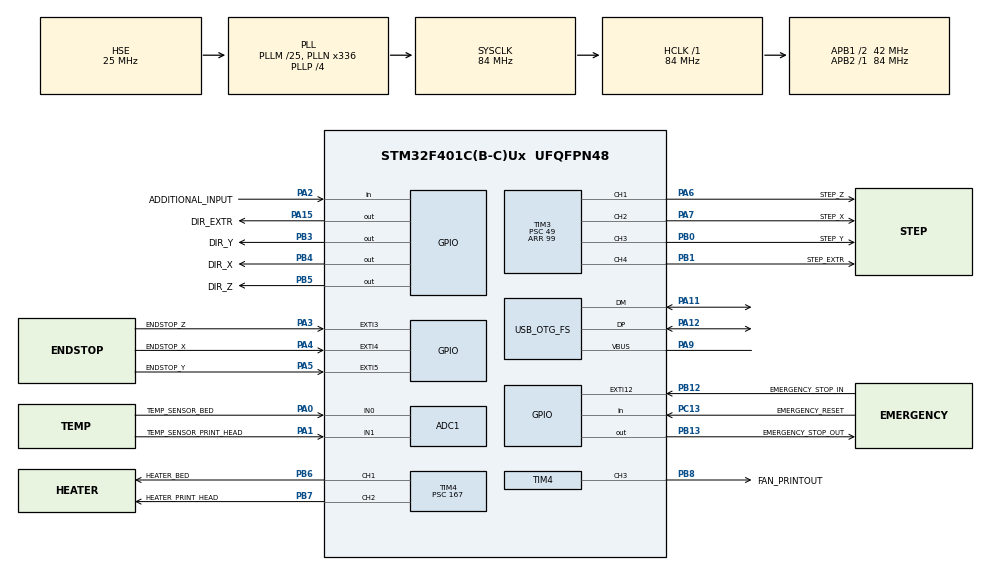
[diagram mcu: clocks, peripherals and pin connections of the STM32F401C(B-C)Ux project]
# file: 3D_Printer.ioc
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ADC1.Channel-0\#ChannelRegularConversion=ADC_CHANNEL_0
ADC1.Channel-1\#ChannelRegularConversion=ADC_CHANNEL_1
ADC1.NbrOfConversion=2
ADC1.NbrOfConversionFlag=1
ADC1.Rank-0\#ChannelRegularConversion=1
ADC1.Rank-1\#ChannelRegularConversion=2
ADC1.SamplingTime-0\#ChannelRegularConversion=ADC_SAMPLETIME_3CYCLES
ADC1.SamplingTime-1\#ChannelRegularConversion=ADC_SAMPLETIME_3CYCLES
ADC1.ScanConvMode=ENABLE
ADC1.master=1
Dma.ADC1.0.Direction=DMA_PERIPH_TO_MEMORY
Dma.ADC1.0.FIFOMode=DMA_FIFOMODE_DISABLE
Dma.ADC1.0.Instance=DMA2_Stream0
Dma.ADC1.0.MemDataAlignment=DMA_MDATAALIGN_WORD
Dma.ADC1.0.MemInc=DMA_MINC_ENABLE
Dma.ADC1.0.Mode=DMA_CIRCULAR
Dma.ADC1.0.PeriphDataAlignment=DMA_PDATAALIGN_WORD
Dma.ADC1.0.PeriphInc=DMA_PINC_DISABLE
Dma.ADC1.0.Priority=DMA_PRIORITY_LOW
Dma.Request0=ADC1
Mcu.Family=STM32F4
Mcu.Name=STM32F401C(B-C)Ux
Mcu.Package=UFQFPN48
NVIC.DMA2_Stream0_IRQn=true\:0\:0\:false\:false\:true\:false\:true\:true
NVIC.EXTI15_10_IRQn=true\:0\:0\:false\:false\:true\:true\:true\:true
NVIC.EXTI3_IRQn=true\:0\:0\:false\:false\:true\:true\:true\:true
NVIC.EXTI4_IRQn=true\:0\:0\:false\:false\:true\:true\:true\:true
NVIC.EXTI9_5_IRQn=true\:0\:0\:false\:false\:true\:true\:true\:true
NVIC.OTG_FS_IRQn=true\:0\:0\:false\:false\:true\:true\:true\:true
NVIC.PriorityGroup=NVIC_PRIORITYGROUP_4
NVIC.TIM3_IRQn=true\:0\:0\:false\:false\:true\:true\:true\:true
PA0-WKUP.GPIO_Label=TEMP_SENSOR_BED
PA0-WKUP.Signal=ADCx_IN0
PA1.GPIO_Label=TEMP_SENSOR_PRINT_HEAD
PA1.Signal=ADCx_IN1
PA11.Mode=Device_Only
PA11.Signal=USB_OTG_FS_DM
PA12.Mode=Device_Only
PA12.Signal=USB_OTG_FS_DP
PA13.Mode=Serial_Wire
PA13.Signal=SYS_JTMS-SWDIO
PA14.Mode=Serial_Wire
PA14.Signal=SYS_JTCK-SWCLK
PA15.GPIO_Label=DIR_EXTR
PA15.Signal=GPIO_Output
PA2.GPIO_Label=ADDITIONAL_INPUT
PA2.Signal=GPIO_Input
PA3.GPIO_Label=ENDSTOP_Z
PA3.Signal=GPXTI3
PA4.GPIO_Label=ENDSTOP_X
PA4.Signal=GPXTI4
PA5.GPIO_Label=ENDSTOP_Y
PA5.Signal=GPXTI5
PA6.GPIO_Label=STEP_Z
PA6.Signal=S_TIM3_CH1
PA7.GPIO_Label=STEP_X
PA7.Signal=S_TIM3_CH2
PA9.Mode=Activate_VBUS
PA9.Signal=USB_OTG_FS_VBUS
PB0.GPIO_Label=STEP_Y
PB0.Signal=S_TIM3_CH3
PB1.GPIO_Label=STEP_EXTR
PB1.Signal=S_TIM3_CH4
PB12.GPIO_Label=EMERGENCY_STOP_IN
PB12.GPIO_ModeDefaultEXTI=GPIO_MODE_IT_FALLING
PB12.Signal=GPXTI12
PB13.GPIO_Label=EMERGENCY_STOP_OUT
PB13.Signal=GPIO_Output
PB3.GPIO_Label=DIR_Y
PB3.Signal=GPIO_Output
PB4.GPIO_Label=DIR_X
PB4.Signal=GPIO_Output
PB5.GPIO_Label=DIR_Z
PB5.Signal=GPIO_Output
PB6.GPIO_Label=HEATER_BED
PB6.Signal=S_TIM4_CH1
PB7.GPIO_Label=HEATER_PRINT_HEAD
PB7.Signal=S_TIM4_CH2
PB8.GPIO_Label=FAN_PRINTOUT
PB8.Signal=S_TIM4_CH3
PC13-ANTI_TAMP.GPIO_Label=EMERGENCY_RESET
PC13-ANTI_TAMP.Signal=GPIO_Input
PH0\ -\ OSC_IN.Mode=HSE-External-Oscillator
PH0\ -\ OSC_IN.Signal=RCC_OSC_IN
PH1\ -\ OSC_OUT.Mode=HSE-External-Oscillator
PH1\ -\ OSC_OUT.Signal=RCC_OSC_OUT
ProjectManager.HeapSize=0x200
ProjectManager.StackSize=0x400
ProjectManager.TargetToolchain=CMake
RCC.48MHZClocksFreq_Value=48000000
RCC.AHBFreq_Value=84000000
RCC.APB1CLKDivider=RCC_HCLK_DIV2
RCC.APB1Freq_Value=42000000
RCC.APB1TimFreq_Value=84000000
RCC.APB2Freq_Value=84000000
RCC.APB2TimFreq_Value=84000000
RCC.CortexFreq_Value=84000000
RCC.HCLKFreq_Value=84000000
RCC.HSE_VALUE=25000000
RCC.HSI_VALUE=16000000
RCC.LSE_VALUE=32768
RCC.PLLM=25
RCC.PLLN=336
RCC.PLLP=RCC_PLLP_DIV4
RCC.PLLQ=7
RCC.SYSCLKFreq_VALUE=84000000
RCC.SYSCLKSource=RCC_SYSCLKSOURCE_PLLCLK
RCC.VCOOutputFreq_Value=336000000
SH.ADCx_IN0.0=ADC1_IN0,IN0
SH.ADCx_IN1.0=ADC1_IN1,IN1
SH.S_TIM3_CH1.0=TIM3_CH1,PWM Generation1 CH1
SH.S_TIM3_CH2.0=TIM3_CH2,PWM Generation2 CH2
SH.S_TIM3_CH3.0=TIM3_CH3,PWM Generation3 CH3
SH.S_TIM3_CH4.0=TIM3_CH4,PWM Generation4 CH4
SH.S_TIM4_CH1.0=TIM4_CH1,PWM Generation1 CH1
SH.S_TIM4_CH2.0=TIM4_CH2,PWM Generation2 CH2
SH.S_TIM4_CH3.0=TIM4_CH3,PWM Generation3 CH3
TIM3.Channel-PWM\ Generation1\ CH1=TIM_CHANNEL_1
TIM3.Channel-PWM\ Generation2\ CH2=TIM_CHANNEL_2
TIM3.Channel-PWM\ Generation3\ CH3=TIM_CHANNEL_3
TIM3.Channel-PWM\ Generation4\ CH4=TIM_CHANNEL_4
TIM3.Period=99
TIM3.Prescaler=49
TIM4.AutoReloadPreload=TIM_AUTORELOAD_PRELOAD_DISABLE
TIM4.Channel-PWM\ Generation1\ CH1=TIM_CHANNEL_1
TIM4.Channel-PWM\ Generation2\ CH2=TIM_CHANNEL_2
TIM4.Channel-PWM\ Generation3\ CH3=TIM_CHANNEL_3
TIM4.Period=999
TIM4.Prescaler=167
USB_DEVICE.CLASS_NAME_FS=CDC
USB_DEVICE.VirtualMode=Cdc
USB_DEVICE.VirtualModeFS=Cdc_FS
USB_OTG_FS.VirtualMode=Device_Only
VP_USB_DEVICE_VS_USB_DEVICE_CDC_FS.Mode=CDC_FS
board=custom

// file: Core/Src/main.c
/* USER CODE BEGIN Header */
/**
  ******************************************************************************
  * @file           : main.c
  * @brief          : Main program body
  ******************************************************************************
  */
/* USER CODE END Header */
#include "main.h"
#include "usb_device.h"

/* USER CODE BEGIN Includes */

#include "debug.h"
#include "stepper_motor.h"
#include "emergency_stop.h"
#include "system_check.h"
#include "axis.h"
#include "protocol_praser.h"
/* USER CODE END Includes */

ADC_HandleTypeDef hadc1;
DMA_HandleTypeDef hdma_adc1;

TIM_HandleTypeDef htim3;
TIM_HandleTypeDef htim4;

/* USER CODE BEGIN PV */

volatile uint32_t last_press_time_endstop_x = 0;
volatile uint32_t last_press_time_endstop_y = 0;
volatile uint32_t last_press_time_endstop_z = 0;
volatile SystemState_t currentState = STATE_INIT;

static uint8_t adc_dma_error_reported = 0U;

static uint8_t header_circ_buf_mem[HEADER_BUFFER_SIZE];
static uint8_t usb_circ_buf_mem[USB_BUFFER_SIZE];

uint32_t ADC_BUFFER[2];
uint32_t ADC_SUM[2];
uint8_t ADC_reading_counter;
PID_Controller pid_controller_bed;
PID_Controller pid_controller_print_head;

circ_buf_t header_circ_buf;
circ_buf_t usb_circ_buf;

/* USER CODE END PV */

void SystemClock_Config(void);
static void MX_GPIO_Init(void);
static void MX_DMA_Init(void);
static void MX_TIM3_Init(void);
static void MX_TIM4_Init(void);
static void MX_ADC1_Init(void);

/* USER CODE BEGIN 0 */

void HAL_TIM_PWM_PulseFinishedCallback(TIM_HandleTypeDef *htim)
{
    if (htim->Instance == TIM3)
    {
    	uint8_t ch = htim->Channel - 1;

    	if (ch < AXIS_COUNT)
    	{
    		process_axis(channel_axis_map[ch]);
    	 }
    }
}

void HAL_ADC_ConvCpltCallback(ADC_HandleTypeDef* hadc)
{
	if(ADC_reading_counter < 16){
		ADC_SUM[0]+=ADC_BUFFER[0];
		ADC_SUM[1]+=ADC_BUFFER[1];
		ADC_reading_counter++;
	}
	else{
		ADC_reading_counter=0;
		PID_to_PWM(PID_Compute(&pid_controller_bed, (float)(ADC_SUM[0]>>16), 0.032), &htim4, TIM_CHANNEL_1);
		PID_to_PWM(PID_Compute(&pid_controller_print_head, (float)(ADC_SUM[0]>>16), 0.032), &htim4, TIM_CHANNEL_2);

	}

}

#define DEBOUNCE_MS 20U

static uint8_t EXTI_debouncing(volatile uint32_t *last_press_time, uint32_t line_mask)
{
    uint32_t now;

    EXTI->PR = line_mask;

    now = HAL_GetTick();

    if ((now - *last_press_time) > DEBOUNCE_MS) {
        *last_press_time = now;
        return 1U;
    }

    return 0U;
}

void HAL_GPIO_EXTI_Callback(uint16_t GPIO_Pin)
{
    if (GPIO_Pin == ENDSTOP_X_Pin) {
        (void)EXTI_debouncing(&last_press_time_endstop_x, (1U << 4U));
        stop_homing(axis_map[0].motor);
    } else if (GPIO_Pin == ENDSTOP_Y_Pin) {
        (void)EXTI_debouncing(&last_press_time_endstop_y, (1U << 3U));
    } else if (GPIO_Pin == ENDSTOP_Z_Pin) {
        (void)EXTI_debouncing(&last_press_time_endstop_z, (1U << 4U));
    }
    else if (GPIO_Pin == EMERGENCY_STOP_IN_Pin) {
        Emergency_Stop_Activate();
        currentState = STATE_STOP;
        HAL_GPIO_WritePin(EMERGENCY_STOP_OUT_GPIO_Port, EMERGENCY_STOP_OUT_Pin, GPIO_PIN_RESET);
    }
}

static void start_stepper_pwm_channels(void)
{
    if (HAL_TIM_PWM_Start_IT(&htim3, TIM_CHANNEL_1) != HAL_OK) {
        debug_error("TIM3 CH1 PWM start failed\r\n");
        Error_Handler();
    }
    if (HAL_TIM_PWM_Start_IT(&htim3, TIM_CHANNEL_2) != HAL_OK) {
        debug_error("TIM3 CH2 PWM start failed\r\n");
        Error_Handler();
    }
    if (HAL_TIM_PWM_Start_IT(&htim3, TIM_CHANNEL_3) != HAL_OK) {
        debug_error("TIM3 CH3 PWM start failed\r\n");
        Error_Handler();
    }
    if (HAL_TIM_PWM_Start_IT(&htim3, TIM_CHANNEL_4) != HAL_OK) {
        debug_error("TIM3 CH4 PWM start failed\r\n");
        Error_Handler();
    }
}

static void start_heater_pwm_channels(void)
{
    if (HAL_TIM_PWM_Start_IT(&htim4, TIM_CHANNEL_1) != HAL_OK) {
        debug_error("TIM4 CH1 PWM start failed\r\n");
        Error_Handler();
    }
    if (HAL_TIM_PWM_Start_IT(&htim4, TIM_CHANNEL_2) != HAL_OK) {
        debug_error("TIM4 CH2 PWM start failed\r\n");
        Error_Handler();
    }
}

static void start_stepper_base_timer(void)
{
    if (HAL_TIM_Base_Start_IT(&htim3) != HAL_OK) {
        debug_error("TIM3 base timer start failed\r\n");
        Error_Handler();
    }
}

/* USER CODE END 0 */

int main(void)
{

  /* MCU Configuration--------------------------------------------------------*/

  /* Reset of all peripherals, Initializes the Flash interface and the Systick. */
  if (HAL_Init() != HAL_OK)
  {
    Error_Handler();
  }

  debug_init();

  /* USER CODE BEGIN Init */

  // ===== Initialize stepper motors adn buffers =====

  axis_init(&htim3);
  circ_buf_init(&header_circ_buf, header_circ_buf_mem, AXIS_BUFFER_SIZE, 1);
  circ_buf_init(&usb_circ_buf, usb_circ_buf_mem, AXIS_BUFFER_SIZE, 1);

  /* Initialize parsers */
  parse_init(&header_circ_buf, &usb_circ_buf);
  usb_praser_init(header_circ_buf, usb_circ_buf);

  // ===== Start PWM with interrupt =====
  start_stepper_pwm_channels();

  // ===== Start PWM without interrupt =====
  start_heater_pwm_channels();

  // ===== Start base timer interrupt =====
  start_stepper_base_timer();

  // Default directions HIGH
  HAL_GPIO_WritePin(motor_X.dir_port, motor_X.dir_pin, GPIO_PIN_SET);
  HAL_GPIO_WritePin(motor_Y.dir_port, motor_Y.dir_pin, GPIO_PIN_SET);
  HAL_GPIO_WritePin(motor_Z.dir_port, motor_Z.dir_pin, GPIO_PIN_SET);
  HAL_GPIO_WritePin(motor_extruder.dir_port, motor_extruder.dir_pin, GPIO_PIN_SET);

  // ====== pid controlers ======

  // TO DO
  // define pid varibles

  PID_Init(&pid_controller_print_head, 20, 0.5, 100, 0, 100);
  PID_Init(&pid_controller_bed, 20, 0.5, 100, 0, 100);

  /* USER CODE END Init */

  /* Configure the system clock */
  SystemClock_Config();

  /* Initialize all configured peripherals */
  MX_GPIO_Init();
  MX_DMA_Init();
  MX_TIM3_Init();
  MX_TIM4_Init();
  MX_USB_DEVICE_Init();
  MX_ADC1_Init();

  /* Infinite loop */
  /* USER CODE BEGIN WHILE */
  while (1)
  {
	  switch (currentState)
	  {
	  	case STATE_INIT:
	  	{
	  		if (!System_Check())
	  		{
	  			start_homing(axis_map[0].motor, 1);
	  			start_homing(axis_map[1].motor, 1);
	  			start_homing(axis_map[2].motor, 1);
	  			start_homing(axis_map[3].motor, 1);

	  			currentState = STATE_HOMING;
	  		}
	  		else
	  		{
	  			currentState = STATE_STOP;
	  		}
	  		break;
	  	}
	  	case STATE_HOMING:
		{
			if(!axis_map[0].motor->is_homing &&
					!axis_map[1].motor->is_homing &&
					!axis_map[2].motor->is_homing &&
					!axis_map[3].motor->is_homing) currentState = STATE_RUN;

	  	}
	  	break;
	  	case STATE_RUN:
	  	{
	  		HAL_GPIO_WritePin(EMERGENCY_STOP_OUT_GPIO_Port, EMERGENCY_STOP_OUT_Pin, GPIO_PIN_SET);
	  		usb_tx_process();
	  		uint8_t flag = 0;
	  		parse_frame(&flag);
	  	}
	  	break;
	  	case STATE_STOP:
	  	{
	  		if(HAL_GPIO_ReadPin(EMERGENCY_RESET_GPIO_Port,  EMERGENCY_RESET_Pin) ==  GPIO_PIN_SET){
	  			currentState = STATE_RUN;
          Emergency_Stop_Reset();
	  		}
	  	}
	  	break;
	  }

	  if (HAL_ADC_Start_DMA(&hadc1, ADC_BUFFER, 2) != HAL_OK)
	  {
	   if (adc_dma_error_reported == 0U)
	   {
	    debug_error("ADC DMA start failed\r\n");
	    adc_dma_error_reported = 1U;
	   }
	  }
	  else
	  {
	   adc_dma_error_reported = 0U;
	  }

	  HAL_Delay(5);
    /* USER CODE END WHILE */

  }
}

void SystemClock_Config(void)
{
  RCC_OscInitTypeDef RCC_OscInitStruct = {0};
  RCC_ClkInitTypeDef RCC_ClkInitStruct = {0};

  /** Configure the main internal regulator output voltage
  */
  __HAL_RCC_PWR_CLK_ENABLE();
  __HAL_PWR_VOLTAGESCALING_CONFIG(PWR_REGULATOR_VOLTAGE_SCALE2);

  /** Initializes the RCC Oscillators according to the specified parameters
  * in the RCC_OscInitTypeDef structure.
  */
  RCC_OscInitStruct.OscillatorType = RCC_OSCILLATORTYPE_HSE;
  RCC_OscInitStruct.HSEState = RCC_HSE_ON;
  RCC_OscInitStruct.PLL.PLLState = RCC_PLL_ON;
  RCC_OscInitStruct.PLL.PLLSource = RCC_PLLSOURCE_HSE;
  RCC_OscInitStruct.PLL.PLLM = 25;
  RCC_OscInitStruct.PLL.PLLN = 336;
  RCC_OscInitStruct.PLL.PLLP = RCC_PLLP_DIV4;
  RCC_OscInitStruct.PLL.PLLQ = 7;
  if (HAL_RCC_OscConfig(&RCC_OscInitStruct) != HAL_OK)
  {
    Error_Handler();
  }

  /** Initializes the CPU, AHB and APB buses clocks
  */
  RCC_ClkInitStruct.ClockType = RCC_CLOCKTYPE_HCLK|RCC_CLOCKTYPE_SYSCLK
                              |RCC_CLOCKTYPE_PCLK1|RCC_CLOCKTYPE_PCLK2;
  RCC_ClkInitStruct.SYSCLKSource = RCC_SYSCLKSOURCE_PLLCLK;
  RCC_ClkInitStruct.AHBCLKDivider = RCC_SYSCLK_DIV1;
  RCC_ClkInitStruct.APB1CLKDivider = RCC_HCLK_DIV2;
  RCC_ClkInitStruct.APB2CLKDivider = RCC_HCLK_DIV1;

  if (HAL_RCC_ClockConfig(&RCC_ClkInitStruct, FLASH_LATENCY_2) != HAL_OK)
  {
    Error_Handler();
  }
}

static void MX_ADC1_Init(void)
{

  ADC_ChannelConfTypeDef sConfig = {0};

  /** Configure the global features of the ADC (Clock, Resolution, Data Alignment and number of conversion)
  */
  hadc1.Instance = ADC1;
  hadc1.Init.ClockPrescaler = ADC_CLOCK_SYNC_PCLK_DIV4;
  hadc1.Init.Resolution = ADC_RESOLUTION_12B;
  hadc1.Init.ScanConvMode = ENABLE;
  hadc1.Init.ContinuousConvMode = DISABLE;
  hadc1.Init.DiscontinuousConvMode = DISABLE;
  hadc1.Init.ExternalTrigConvEdge = ADC_EXTERNALTRIGCONVEDGE_NONE;
  hadc1.Init.ExternalTrigConv = ADC_SOFTWARE_START;
  hadc1.Init.DataAlign = ADC_DATAALIGN_RIGHT;
  hadc1.Init.NbrOfConversion = 2;
  hadc1.Init.DMAContinuousRequests = DISABLE;
  hadc1.Init.EOCSelection = ADC_EOC_SINGLE_CONV;
  if (HAL_ADC_Init(&hadc1) != HAL_OK)
  {
    Error_Handler();
  }

  /** Configure for the selected ADC regular channel its corresponding rank in the sequencer and its sample time.
  */
  sConfig.Channel = ADC_CHANNEL_0;
  sConfig.Rank = 1;
  sConfig.SamplingTime = ADC_SAMPLETIME_3CYCLES;
  if (HAL_ADC_ConfigChannel(&hadc1, &sConfig) != HAL_OK)
  {
    Error_Handler();
  }

  /** Configure for the selected ADC regular channel its corresponding rank in the sequencer and its sample time.
  */
  sConfig.Channel = ADC_CHANNEL_1;
  sConfig.Rank = 2;
  if (HAL_ADC_ConfigChannel(&hadc1, &sConfig) != HAL_OK)
  {
    Error_Handler();
  }

}

static void MX_TIM3_Init(void)
{

  TIM_MasterConfigTypeDef sMasterConfig = {0};
  TIM_OC_InitTypeDef sConfigOC = {0};

  htim3.Instance = TIM3;
  htim3.Init.Prescaler = 49;
  htim3.Init.CounterMode = TIM_COUNTERMODE_UP;
  htim3.Init.Period = 99;
  htim3.Init.ClockDivision = TIM_CLOCKDIVISION_DIV1;
  htim3.Init.AutoReloadPreload = TIM_AUTORELOAD_PRELOAD_DISABLE;
  if (HAL_TIM_PWM_Init(&htim3) != HAL_OK)
  {
    Error_Handler();
  }
  sMasterConfig.MasterOutputTrigger = TIM_TRGO_RESET;
  sMasterConfig.MasterSlaveMode = TIM_MASTERSLAVEMODE_DISABLE;
  if (HAL_TIMEx_MasterConfigSynchronization(&htim3, &sMasterConfig) != HAL_OK)
  {
    Error_Handler();
  }
  sConfigOC.OCMode = TIM_OCMODE_PWM1;
  sConfigOC.Pulse = 0;
  sConfigOC.OCPolarity = TIM_OCPOLARITY_HIGH;
  sConfigOC.OCFastMode = TIM_OCFAST_DISABLE;
  if (HAL_TIM_PWM_ConfigChannel(&htim3, &sConfigOC, TIM_CHANNEL_1) != HAL_OK)
  {
    Error_Handler();
  }
  if (HAL_TIM_PWM_ConfigChannel(&htim3, &sConfigOC, TIM_CHANNEL_2) != HAL_OK)
  {
    Error_Handler();
  }
  if (HAL_TIM_PWM_ConfigChannel(&htim3, &sConfigOC, TIM_CHANNEL_3) != HAL_OK)
  {
    Error_Handler();
  }
  if (HAL_TIM_PWM_ConfigChannel(&htim3, &sConfigOC, TIM_CHANNEL_4) != HAL_OK)
  {
    Error_Handler();
  }
  HAL_TIM_MspPostInit(&htim3);

}

static void MX_TIM4_Init(void)
{

  TIM_MasterConfigTypeDef sMasterConfig = {0};
  TIM_OC_InitTypeDef sConfigOC = {0};

  htim4.Instance = TIM4;
  htim4.Init.Prescaler = 167;
  htim4.Init.CounterMode = TIM_COUNTERMODE_UP;
  htim4.Init.Period = 999;
  htim4.Init.ClockDivision = TIM_CLOCKDIVISION_DIV1;
  htim4.Init.AutoReloadPreload = TIM_AUTORELOAD_PRELOAD_DISABLE;
  if (HAL_TIM_PWM_Init(&htim4) != HAL_OK)
  {
    Error_Handler();
  }
  sMasterConfig.MasterOutputTrigger = TIM_TRGO_RESET;
  sMasterConfig.MasterSlaveMode = TIM_MASTERSLAVEMODE_DISABLE;
  if (HAL_TIMEx_MasterConfigSynchronization(&htim4, &sMasterConfig) != HAL_OK)
  {
    Error_Handler();
  }
  sConfigOC.OCMode = TIM_OCMODE_PWM1;
  sConfigOC.Pulse = 0;
  sConfigOC.OCPolarity = TIM_OCPOLARITY_HIGH;
  sConfigOC.OCFastMode = TIM_OCFAST_DISABLE;
  if (HAL_TIM_PWM_ConfigChannel(&htim4, &sConfigOC, TIM_CHANNEL_1) != HAL_OK)
  {
    Error_Handler();
  }
  if (HAL_TIM_PWM_ConfigChannel(&htim4, &sConfigOC, TIM_CHANNEL_2) != HAL_OK)
  {
    Error_Handler();
  }
  if (HAL_TIM_PWM_ConfigChannel(&htim4, &sConfigOC, TIM_CHANNEL_3) != HAL_OK)
  {
    Error_Handler();
  }
  HAL_TIM_MspPostInit(&htim4);

}

static void MX_DMA_Init(void)
{

  /* DMA controller clock enable */
  __HAL_RCC_DMA2_CLK_ENABLE();

  /* DMA interrupt init */
  /* DMA2_Stream0_IRQn interrupt configuration */
  HAL_NVIC_SetPriority(DMA2_Stream0_IRQn, 0, 0);
  HAL_NVIC_EnableIRQ(DMA2_Stream0_IRQn);

}

static void MX_GPIO_Init(void)
{
  GPIO_InitTypeDef GPIO_InitStruct = {0};

  /* GPIO Ports Clock Enable */
  __HAL_RCC_GPIOC_CLK_ENABLE();
  __HAL_RCC_GPIOH_CLK_ENABLE();
  __HAL_RCC_GPIOA_CLK_ENABLE();
  __HAL_RCC_GPIOB_CLK_ENABLE();

  /*Configure GPIO pin Output Level */
  HAL_GPIO_WritePin(GPIOB, EMERGENCY_STOP_OUT_Pin|DIR_Y_Pin|DIR_X_Pin|DIR_Z_Pin, GPIO_PIN_RESET);

  /*Configure GPIO pin Output Level */
  HAL_GPIO_WritePin(DIR_EXTR_GPIO_Port, DIR_EXTR_Pin, GPIO_PIN_RESET);

  /*Configure GPIO pin : EMERGENCY_RESET_Pin */
  GPIO_InitStruct.Pin = EMERGENCY_RESET_Pin;
  GPIO_InitStruct.Mode = GPIO_MODE_INPUT;
  GPIO_InitStruct.Pull = GPIO_NOPULL;
  HAL_GPIO_Init(EMERGENCY_RESET_GPIO_Port, &GPIO_InitStruct);

  /*Configure GPIO pin : ADDITIONAL_INPUT_Pin */
  GPIO_InitStruct.Pin = ADDITIONAL_INPUT_Pin;
  GPIO_InitStruct.Mode = GPIO_MODE_INPUT;
  GPIO_InitStruct.Pull = GPIO_NOPULL;
  HAL_GPIO_Init(ADDITIONAL_INPUT_GPIO_Port, &GPIO_InitStruct);

  /*Configure GPIO pins : ENDSTOP_Z_Pin ENDSTOP_X_Pin ENDSTOP_Y_Pin */
  GPIO_InitStruct.Pin = ENDSTOP_Z_Pin|ENDSTOP_X_Pin|ENDSTOP_Y_Pin;
  GPIO_InitStruct.Mode = GPIO_MODE_IT_RISING;
  GPIO_InitStruct.Pull = GPIO_NOPULL;
  HAL_GPIO_Init(GPIOA, &GPIO_InitStruct);

  /*Configure GPIO pin : EMERGENCY_STOP_IN_Pin */
  GPIO_InitStruct.Pin = EMERGENCY_STOP_IN_Pin;
  GPIO_InitStruct.Mode = GPIO_MODE_IT_FALLING;
  GPIO_InitStruct.Pull = GPIO_NOPULL;
  HAL_GPIO_Init(EMERGENCY_STOP_IN_GPIO_Port, &GPIO_InitStruct);

  /*Configure GPIO pins : EMERGENCY_STOP_OUT_Pin DIR_Y_Pin DIR_X_Pin DIR_Z_Pin */
  GPIO_InitStruct.Pin = EMERGENCY_STOP_OUT_Pin|DIR_Y_Pin|DIR_X_Pin|DIR_Z_Pin;
  GPIO_InitStruct.Mode = GPIO_MODE_OUTPUT_PP;
  GPIO_InitStruct.Pull = GPIO_NOPULL;
  GPIO_InitStruct.Speed = GPIO_SPEED_FREQ_LOW;
  HAL_GPIO_Init(GPIOB, &GPIO_InitStruct);

  /*Configure GPIO pin : DIR_EXTR_Pin */
  GPIO_InitStruct.Pin = DIR_EXTR_Pin;
  GPIO_InitStruct.Mode = GPIO_MODE_OUTPUT_PP;
  GPIO_InitStruct.Pull = GPIO_NOPULL;
  GPIO_InitStruct.Speed = GPIO_SPEED_FREQ_LOW;
  HAL_GPIO_Init(DIR_EXTR_GPIO_Port, &GPIO_InitStruct);

  /* EXTI interrupt init*/
  HAL_NVIC_SetPriority(EXTI3_IRQn, 0, 0);
  HAL_NVIC_EnableIRQ(EXTI3_IRQn);

  HAL_NVIC_SetPriority(EXTI4_IRQn, 0, 0);
  HAL_NVIC_EnableIRQ(EXTI4_IRQn);

  HAL_NVIC_SetPriority(EXTI9_5_IRQn, 0, 0);
  HAL_NVIC_EnableIRQ(EXTI9_5_IRQn);

  HAL_NVIC_SetPriority(EXTI15_10_IRQn, 0, 0);
  HAL_NVIC_EnableIRQ(EXTI15_10_IRQn);

}

void Error_Handler(void)
{
  /* USER CODE BEGIN Error_Handler_Debug */
  /* User can add his own implementation to report the HAL error return state */
  __disable_irq();
  debug_error("FATAL: Error_Handler entered - system halted\r\n");
  while (1)
  {
  }
  /* USER CODE END Error_Handler_Debug */
}
#ifdef USE_FULL_ASSERT
/**
  * @brief  Reports the name of the source file and the source line number
  *         where the assert_param error has occurred.
  * @param  file: pointer to the source file name
  * @param  line: assert_param error line source number
  * @retval None
  */
void assert_failed(uint8_t *file, uint32_t line)
{
  /* USER CODE BEGIN 6 */
  /* User can add his own implementation to report the file name and line number,
     ex: printf("Wrong parameters value: file %s on line %d\r\n", file, line) */
  debug_error("HAL PARAM ASSERT: file %s line %lu\r\n",
              (const char *)file,
              (unsigned long)line);
  /* USER CODE END 6 */
}
#endif /* USE_FULL_ASSERT */
